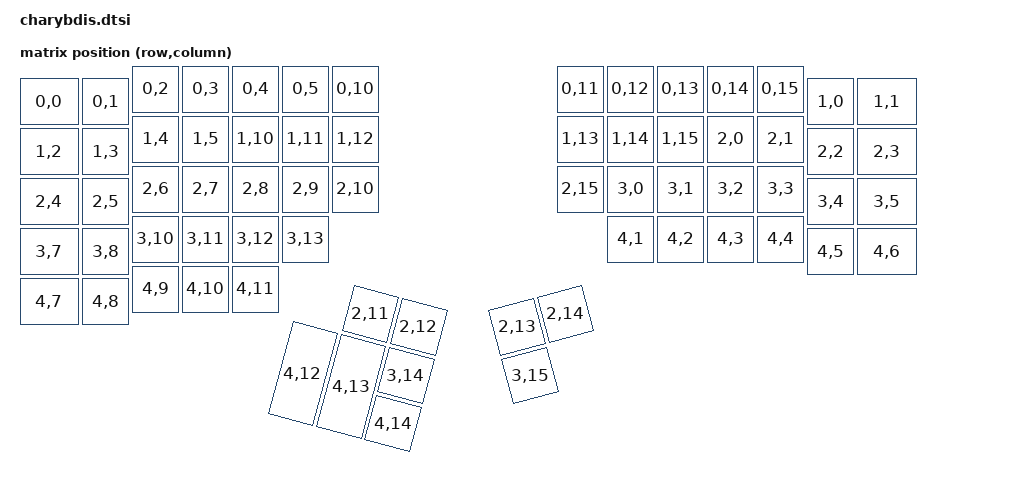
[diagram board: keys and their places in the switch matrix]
#include <dt-bindings/zmk/matrix_transform.h>
#include <physical_layouts.dtsi>

/ {
    chosen {
        zmk,physical-layout = &charybdis_physical_layout;
    };
    kscan0: kscan {
        compatible = "zmk,kscan-gpio-matrix";
        wakeup-source;
        diode-direction = "col2row";
    }; 
    transform0: keymap_transform_0 {
        compatible = "zmk,matrix-transform";
        rows = <5>;
        columns = <16>;
        map = <
            RC(0,0) RC(0,1) RC(0,2) RC(0,3) RC(0,4) RC(0,5)                                                                      RC(0,10) RC(0,11) RC(0,12) RC(0,13) RC(0,14) RC(0,15)
            RC(1,0) RC(1,1) RC(1,2) RC(1,3) RC(1,4) RC(1,5)                                                                      RC(1,10) RC(1,11) RC(1,12) RC(1,13) RC(1,14) RC(1,15)
            RC(2,0) RC(2,1) RC(2,2) RC(2,3) RC(2,4) RC(2,5)             RC(2,6) RC(2,7)            RC(2,8) RC(2,9)               RC(2,10) RC(2,11) RC(2,12) RC(2,13) RC(2,14) RC(2,15)
            RC(3,0) RC(3,1) RC(3,2) RC(3,3) RC(3,4) RC(3,5)                     RC(3,7)            RC(3,8)                       RC(3,10) RC(3,11) RC(3,12) RC(3,13) RC(3,14) RC(3,15)
                    RC(4,1) RC(4,2) RC(4,3) RC(4,4)             RC(4,5) RC(4,6) RC(4,7)            RC(4,8) RC(4,9) RC(4,10)               RC(4,11) RC(4,12) RC(4,13) RC(4,14)
        >;
    };
    charybdis_physical_layout: charybdis_physical_layout {
        compatible = "zmk,physical-layout";
        display-name = "Default";
        kscan = <&kscan0>;
        transform = <&transform0>;
        keys  //                     w   h    x    y     rot    rx    ry
            = <&key_physical_attrs 125 100    0   25       0     0     0>
            , <&key_physical_attrs 100 100  125   25       0     0     0>
            , <&key_physical_attrs 100 100  225    0       0     0     0>
            , <&key_physical_attrs 100 100  325    0       0     0     0>
            , <&key_physical_attrs 100 100  425    0       0     0     0>
            , <&key_physical_attrs 100 100  525    0       0     0     0>
            , <&key_physical_attrs 100 100  625    0       0     0     0>
            , <&key_physical_attrs 100 100 1075    0       0     0     0>
            , <&key_physical_attrs 100 100 1175    0       0     0     0>
            , <&key_physical_attrs 100 100 1275    0       0     0     0>
            , <&key_physical_attrs 100 100 1375    0       0     0     0>
            , <&key_physical_attrs 100 100 1475    0       0     0     0>
            , <&key_physical_attrs 100 100 1575   25       0     0     0>
            , <&key_physical_attrs 125 100 1675   25       0     0     0>
            , <&key_physical_attrs 125 100    0  125       0     0     0>
            , <&key_physical_attrs 100 100  125  125       0     0     0>
            , <&key_physical_attrs 100 100  225  100       0     0     0>
            , <&key_physical_attrs 100 100  325  100       0     0     0>
            , <&key_physical_attrs 100 100  425  100       0     0     0>
            , <&key_physical_attrs 100 100  525  100       0     0     0>
            , <&key_physical_attrs 100 100  625  100       0     0     0>
            , <&key_physical_attrs 100 100 1075  100       0     0     0>
            , <&key_physical_attrs 100 100 1175  100       0     0     0>
            , <&key_physical_attrs 100 100 1275  100       0     0     0>
            , <&key_physical_attrs 100 100 1375  100       0     0     0>
            , <&key_physical_attrs 100 100 1475  100       0     0     0>
            , <&key_physical_attrs 100 100 1575  125       0     0     0>
            , <&key_physical_attrs 125 100 1675  125       0     0     0>
            , <&key_physical_attrs 125 100    0  225       0     0     0>
            , <&key_physical_attrs 100 100  125  225       0     0     0>
            , <&key_physical_attrs 100 100  225  200       0     0     0>
            , <&key_physical_attrs 100 100  325  200       0     0     0>
            , <&key_physical_attrs 100 100  425  200       0     0     0>
            , <&key_physical_attrs 100 100  525  200       0     0     0>
            , <&key_physical_attrs 100 100  625  200       0     0     0>
            , <&key_physical_attrs 100 100  675  400    1500   525   400>
            , <&key_physical_attrs 100 100  775  400    1500   525   400>
            , <&key_physical_attrs 100 100  925  400 (-1500)  1275   400>
            , <&key_physical_attrs 100 100 1025  400 (-1500)  1275   400>
            , <&key_physical_attrs 100 100 1075  200       0     0     0>
            , <&key_physical_attrs 100 100 1175  200       0     0     0>
            , <&key_physical_attrs 100 100 1275  200       0     0     0>
            , <&key_physical_attrs 100 100 1375  200       0     0     0>
            , <&key_physical_attrs 100 100 1475  200       0     0     0>
            , <&key_physical_attrs 100 100 1575  225       0     0     0>
            , <&key_physical_attrs 125 100 1675  225       0     0     0>
            , <&key_physical_attrs 125 100    0  325       0     0     0>
            , <&key_physical_attrs 100 100  125  325       0     0     0>
            , <&key_physical_attrs 100 100  225  300       0     0     0>
            , <&key_physical_attrs 100 100  325  300       0     0     0>
            , <&key_physical_attrs 100 100  425  300       0     0     0>
            , <&key_physical_attrs 100 100  525  300       0     0     0>
            , <&key_physical_attrs 100 100  775  500    1500   525   400>
            , <&key_physical_attrs 100 100  925  500 (-1500)  1275   400>
            , <&key_physical_attrs 100 100 1175  300       0     0     0>
            , <&key_physical_attrs 100 100 1275  300       0     0     0>
            , <&key_physical_attrs 100 100 1375  300       0     0     0>
            , <&key_physical_attrs 100 100 1475  300       0     0     0>
            , <&key_physical_attrs 100 100 1575  325       0     0     0>
            , <&key_physical_attrs 125 100 1675  325       0     0     0>
            , <&key_physical_attrs 125 100    0  425       0     0     0>
            , <&key_physical_attrs 100 100  125  425       0     0     0>
            , <&key_physical_attrs 100 100  225  400       0     0     0>
            , <&key_physical_attrs 100 100  325  400       0     0     0>
            , <&key_physical_attrs 100 100  425  400       0     0     0>
            , <&key_physical_attrs 100 200  575  500    1500   525   400>
            , <&key_physical_attrs 100 200  675  500    1500   525   400>
            , <&key_physical_attrs 100 100  775  600    1500   525   400>
        // , <&key_physical_attrs 100 100  925  600 (-1500)  1275   400>
            // , <&key_physical_attrs 100 200 1025  500 (-1500)  1275   400>
            // , <&key_physical_attrs 100 200 1125  500 (-1500)  1275   400>
            // , <&key_physical_attrs 100 100 1275  400       0     0     0>
            // , <&key_physical_attrs 100 100 1375  400       0     0     0>
            // , <&key_physical_attrs 100 100 1475  400       0     0     0>
            // , <&key_physical_attrs 100 100 1575  425       0     0     0>
            // , <&key_physical_attrs 125 100 1675  425       0     0     0>
            ;
    };
    vbatt: vbatt {
        compatible = "zmk,battery-nrf-vddh";
    };
};

